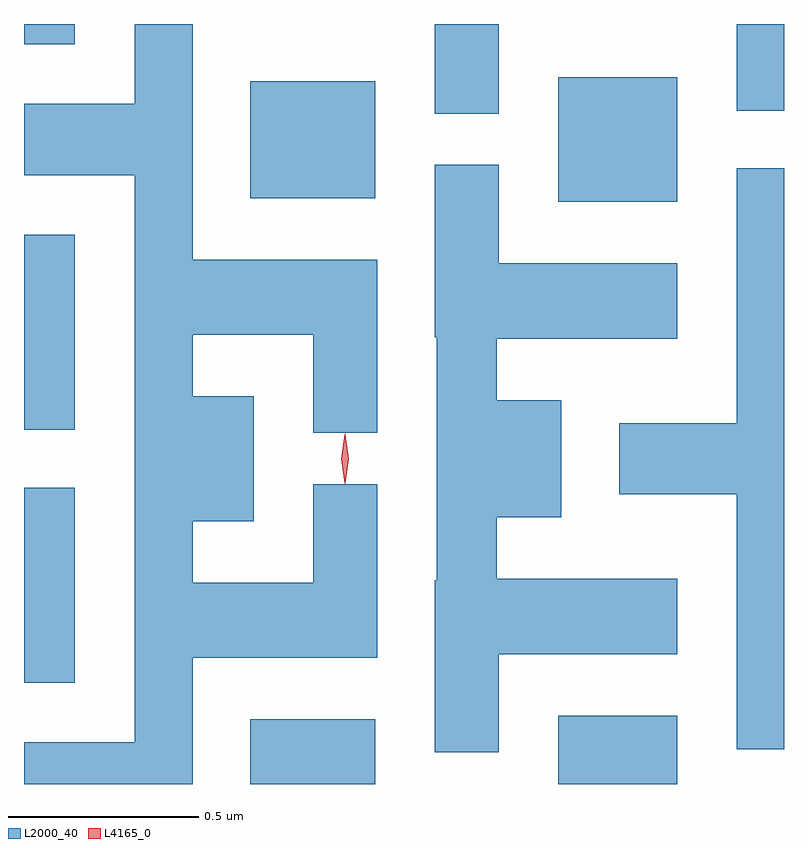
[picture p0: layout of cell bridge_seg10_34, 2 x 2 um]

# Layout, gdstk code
import gdstk
lib = gdstk.Library(unit=1e-6, precision=1e-09)
def R(c, l, rs):  # rectangles x0, y0, x1, y1
    for r in rs: c.add(gdstk.rectangle(r[:2], r[2:], *l))
def P(c, l, *ps):  # polygons
    for p in ps: c.add(gdstk.Polygon(p, *l))
L2000_40 = (2000, 40)
L4165_0 = (4165, 0)

bridge_seg10_34 = lib.new_cell('bridge_seg10_34')
R(bridge_seg10_34, L2000_40, [(1749.886,2154.874,1750.214,2155.044), (1750.696,2154.874,1751.009,2155.054), (1749.29,2155.141,1749.424,2155.654), (1749.29,2155.806,1749.424,2156.319), (1750.696,2156.406,1751.009,2156.734), (1749.886,2156.416,1750.214,2156.724), (1750.371,2156.638,1750.539,2156.874), (1751.166,2156.646,1751.29,2156.874), (1749.29,2156.821,1749.424,2156.874)])
P(bridge_seg10_34, L2000_40, [(1749.734,2155.206),(1750.219,2155.206),(1750.219,2155.663),(1750.051,2155.663),(1750.051,2155.404),(1749.734,2155.404),(1749.734,2155.566),(1749.894,2155.566),(1749.894,2155.894),(1749.734,2155.894),(1749.734,2156.056),(1750.051,2156.056),(1750.051,2155.798),(1750.219,2155.798),(1750.219,2156.254),(1749.734,2156.254),(1749.734,2156.874),(1749.581,2156.874),(1749.581,2156.664),(1749.29,2156.664),(1749.29,2156.476),(1749.581,2156.476),(1749.581,2154.984),(1749.29,2154.984),(1749.29,2154.874),(1749.734,2154.874)],
  [(1750.539,2155.216),(1751.009,2155.216),(1751.009,2155.414),(1750.534,2155.414),(1750.534,2155.576),(1750.704,2155.576),(1750.704,2155.884),(1750.534,2155.884),(1750.534,2156.046),(1751.009,2156.046),(1751.009,2156.244),(1750.539,2156.244),(1750.539,2156.503),(1750.371,2156.503),(1750.371,2156.05),(1750.376,2156.05),(1750.376,2155.41),(1750.371,2155.41),(1750.371,2154.958),(1750.539,2154.958)],
  [(1751.29,2156.494),(1751.166,2156.494),(1751.166,2155.824),(1750.856,2155.824),(1750.856,2155.636),(1751.166,2155.636),(1751.166,2154.966),(1751.29,2154.966)])
P(bridge_seg10_34, L4165_0, [(1750.135,2155.664),(1750.134,2155.665),(1750.125,2155.73),(1750.134,2155.795),(1750.135,2155.796),(1750.136,2155.795),(1750.145,2155.73),(1750.136,2155.665)],
  [(1750.135,2155.667),(1750.134,2155.668),(1750.125,2155.73),(1750.134,2155.792),(1750.135,2155.793),(1750.136,2155.792),(1750.145,2155.73),(1750.136,2155.668)])

lib.write_gds('bridge_seg10_34.gds')
